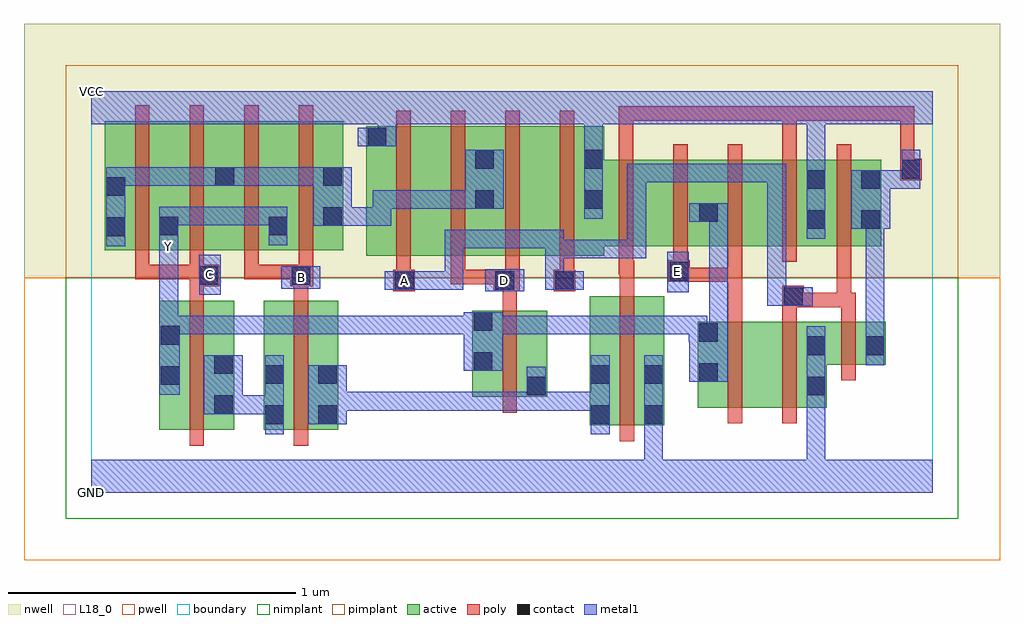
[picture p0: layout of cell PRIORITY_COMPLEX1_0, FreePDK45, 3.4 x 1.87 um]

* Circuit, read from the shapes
.subckt PRIORITY_COMPLEX1_0 A B C D E GND VCC Y
M1 n1 C Y VSUBS nfet w=0.45u l=0.05u
M2 n2 B n1 VSUBS nfet w=0.45u l=0.05u
M3 n2 D Y VSUBS nfet w=0.3u l=0.05u
M4 GND n3 n2 VSUBS nfet w=0.45u l=0.05u
M5 n4 E Y VSUBS nfet w=0.3u l=0.05u
M6 GND A n4 VSUBS nfet w=0.3u l=0.05u
M7 n3 A GND VSUBS nfet w=0.15u l=0.05u
M8 Y C n5 n6 pfet w=0.45u l=0.05u m=2
M9 Y B n5 n6 pfet w=0.45u l=0.05u m=2
M10 n7 A VCC n6 pfet w=0.45u l=0.05u
M11 n5 D n7 n6 pfet w=0.45u l=0.05u
M12 n8 D n5 n6 pfet w=0.45u l=0.05u
M13 VCC A n8 n6 pfet w=0.45u l=0.05u
M14 n9 n3 VCC n6 pfet w=0.3u l=0.05u
M15 Y E n9 n6 pfet w=0.3u l=0.05u
M16 n10 E Y n6 pfet w=0.3u l=0.05u
M17 VCC n3 n10 n6 pfet w=0.3u l=0.05u
M18 n3 A VCC n6 pfet w=0.3u l=0.05u
.ends

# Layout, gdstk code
import gdstk
lib = gdstk.Library(unit=1e-6, precision=1e-09)
def R(c, l, rs):  # rectangles x0, y0, x1, y1
    for r in rs: c.add(gdstk.rectangle(r[:2], r[2:], *l))
def A(c, l, x, y, w, h, nx, ny, dx, dy):  # array of equal rectangles
    R(c, l, [(x+i*dx, y+j*dy, x+i*dx+w, y+j*dy+h) for i in range(nx) for j in range(ny)])
active = (1, 0)
pwell = (2, 0)
nwell = (3, 0)
nimplant = (4, 0)
pimplant = (5, 0)
poly = (9, 0)
contact = (10, 0)
metal1 = (11, 0)
L18_0 = (18, 0)
boundary = (235, 0)

priority_complex1_0 = lib.new_cell('PRIORITY_COMPLEX1_0')
R(priority_complex1_0, active, [(0.237,0.22,0.497,0.67), (0.6,0.22,0.86,0.67), (0.237,0.232,0.312,0.67), (0.422,0.232,0.497,0.542), (0.6,0.232,0.675,0.67), (0.785,0.232,0.86,0.67), (1.735,0.235,1.81,0.685), (1.735,0.235,1.995,0.685), (1.92,0.235,1.995,0.685), (2.112,0.297,2.187,0.597), (2.112,0.297,2.337,0.597), (2.337,0.297,2.562,0.597), (2.487,0.297,2.562,0.597), (1.327,0.335,1.587,0.635), (1.512,0.335,1.587,0.547), (1.327,0.382,1.402,0.635), (2.487,0.447,2.767,0.597), (2.692,0.447,2.767,0.597), (0.957,0.827,1.032,1.277), (0.957,0.827,1.182,1.277), (1.182,0.827,1.407,1.277), (1.332,0.827,1.562,1.277), (1.332,0.827,1.407,1.2), (1.562,0.827,1.787,1.277), (0.047,0.845,0.307,1.295), (0.047,0.845,0.122,1.2), (0.232,0.845,0.307,1.07), (0.232,0.845,0.502,1.295), (0.427,0.845,0.687,1.295), (0.612,0.845,0.877,1.295), (0.612,0.845,0.687,1.07), (0.802,0.845,0.877,1.2), (0.427,0.852,0.502,1.2), (1.712,0.86,1.957,1.16), (1.957,0.86,2.187,1.16), (2.112,0.86,2.337,1.16), (2.112,0.86,2.187,1.07), (2.337,0.86,2.562,1.16), (2.487,0.86,2.562,1.16), (2.487,0.86,2.752,1.16), (2.677,0.86,2.752,1.16), (1.712,0.962,1.787,1.2)])
R(priority_complex1_0, pwell, [(-0.235,-0.235,3.165,0.75)])
R(priority_complex1_0, nwell, [(-0.235,0.75,3.165,1.635)])
R(priority_complex1_0, nimplant, [(-0.09,-0.09,3.02,0.75)])
R(priority_complex1_0, pimplant, [(-0.09,0.75,3.02,1.49)])
A(priority_complex1_0, poly, 1.062, 0.727, 0.05, 0.095, 4, 1, 0.19, 0)
A(priority_complex1_0, poly, 0.152, 0.745, 0.05, 0.095, 4, 1, 0.19, 0)
A(priority_complex1_0, poly, 1.062, 0.772, 0.05, 0.56, 4, 1, 0.19, 0)
A(priority_complex1_0, poly, 0.152, 0.79, 0.05, 0.56, 4, 1, 0.19, 0)
A(priority_complex1_0, poly, 1.837, 0.805, 0.05, 0.41, 5, 1, 0.19, 0)
R(priority_complex1_0, poly, [(0.342,0.165,0.392,0.725), (0.705,0.165,0.755,0.725), (1.84,0.18,1.89,0.74), (2.217,0.242,2.267,0.652), (2.407,0.242,2.457,0.652), (1.432,0.28,1.482,0.69), (2.612,0.392,2.662,0.652), (2.217,0.602,2.267,0.785), (2.407,0.602,2.457,0.697), (2.612,0.602,2.662,0.697), (1.432,0.64,1.482,0.752), (2.407,0.647,2.482,0.722), (2.432,0.647,2.647,0.697), (2.597,0.647,2.647,0.697), (2.597,0.647,2.647,0.697), (2.597,0.647,2.647,0.855), (2.597,0.647,2.662,0.697), (0.342,0.675,0.392,0.77), (0.705,0.675,0.755,0.77), (1.84,0.69,1.89,0.81), (1.052,0.702,1.127,0.777), (1.402,0.702,1.492,0.777), (1.61,0.702,1.685,0.777), (0.342,0.72,0.445,0.795), (0.692,0.72,0.772,0.795), (1.252,0.727,1.302,0.777), (1.252,0.727,1.302,0.777), (1.252,0.727,1.302,0.777), (1.252,0.727,1.452,0.777), (2.01,0.735,2.085,0.81), (2.035,0.735,2.085,0.785), (2.035,0.735,2.085,0.785), (2.035,0.735,2.267,0.785), (2.217,0.735,2.267,0.785), (2.217,0.735,2.267,0.855), (0.152,0.745,0.202,0.795), (0.152,0.745,0.392,0.795), (0.342,0.745,0.392,0.795), (0.342,0.745,0.392,0.795), (0.532,0.745,0.582,0.795), (0.532,0.745,0.582,0.795), (0.532,0.745,0.582,0.795), (0.532,0.745,0.742,0.795), (1.837,0.76,1.887,0.855), (1.837,0.76,1.89,0.81), (2.027,0.76,2.077,0.855), (2.817,1.09,2.892,1.165), (2.817,1.115,2.867,1.347), (1.837,1.165,1.887,1.347), (2.407,1.165,2.457,1.347), (1.837,1.297,1.887,1.347), (1.837,1.297,1.887,1.347), (1.837,1.297,1.887,1.347), (1.837,1.297,2.135,1.347), (2.085,1.297,2.135,1.347), (2.085,1.297,2.135,1.347), (2.085,1.297,2.135,1.347), (2.085,1.297,2.325,1.347), (2.275,1.297,2.325,1.347), (2.275,1.297,2.325,1.347), (2.275,1.297,2.325,1.347), (2.275,1.297,2.457,1.347), (2.407,1.297,2.457,1.347), (2.407,1.297,2.457,1.347), (2.407,1.297,2.457,1.347), (2.407,1.297,2.615,1.347), (2.565,1.297,2.615,1.347), (2.565,1.297,2.867,1.347), (2.817,1.297,2.867,1.347), (2.817,1.297,2.867,1.347), (2.817,1.297,2.867,1.347)])
R(priority_complex1_0, contact, [(0.605,0.24,0.67,0.305), (0.79,0.24,0.855,0.305), (1.74,0.24,1.805,0.305), (1.925,0.24,1.99,0.305), (0.427,0.275,0.492,0.34), (1.517,0.34,1.582,0.405), (2.492,0.34,2.557,0.405), (0.242,0.377,0.307,0.442), (0.605,0.38,0.67,0.445), (0.79,0.38,0.855,0.445), (1.74,0.38,1.805,0.445), (1.925,0.38,1.99,0.445), (2.117,0.387,2.182,0.452), (0.427,0.415,0.492,0.48), (1.332,0.425,1.397,0.49), (2.492,0.48,2.557,0.545), (2.697,0.48,2.762,0.545), (0.242,0.517,0.307,0.582), (2.117,0.527,2.182,0.592), (1.332,0.565,1.397,0.63), (2.412,0.652,2.477,0.717), (1.057,0.707,1.122,0.772), (1.407,0.707,1.472,0.772), (1.615,0.707,1.68,0.772), (0.375,0.725,0.44,0.79), (0.697,0.725,0.762,0.79), (2.015,0.74,2.08,0.805), (0.052,0.895,0.117,0.96), (0.237,0.897,0.302,0.962), (0.617,0.897,0.682,0.962), (2.492,0.92,2.557,0.985), (2.682,0.92,2.747,0.985), (0.807,0.93,0.872,0.995), (2.117,0.945,2.182,1.01), (1.337,0.99,1.402,1.055), (1.717,0.99,1.782,1.055), (0.052,1.035,0.117,1.1), (2.492,1.06,2.557,1.125), (2.682,1.06,2.747,1.125), (0.432,1.07,0.497,1.135), (0.807,1.07,0.872,1.135), (2.822,1.095,2.887,1.16), (1.337,1.13,1.402,1.195), (1.717,1.13,1.782,1.195), (0.962,1.207,1.027,1.272)])
A(priority_complex1_0, metal1, 1.717, 0.287, 0.065, 0.065, 1, 3, 0, 0.265)
R(priority_complex1_0, metal1, [(0,0,2.93,0.115), (1.925,0.05,1.99,0.27), (2.492,0.05,2.557,0.37), (0.605,0.205,0.67,0.48), (1.74,0.205,1.805,0.48), (1.925,0.205,1.99,0.27), (1.925,0.205,1.99,0.27), (1.925,0.205,1.99,0.48), (0.755,0.24,0.89,0.445), (0.392,0.275,0.527,0.48), (0.462,0.275,0.527,0.34), (0.462,0.275,0.527,0.34), (0.462,0.275,0.67,0.34), (0.825,0.287,0.89,0.352), (0.825,0.287,0.89,0.352), (0.825,0.287,1.157,0.352), (1.092,0.287,1.157,0.352), (1.092,0.287,1.157,0.352), (1.092,0.287,1.157,0.352), (1.092,0.287,1.295,0.352), (1.23,0.287,1.295,0.352), (1.23,0.287,1.432,0.352), (1.367,0.287,1.432,0.352), (1.367,0.287,1.432,0.352), (1.367,0.287,1.432,0.352), (1.367,0.287,1.582,0.352), (1.517,0.287,1.782,0.352), (1.517,0.287,1.582,0.44), (1.717,0.287,1.805,0.352), (2.492,0.305,2.557,0.37), (2.492,0.305,2.557,0.37), (2.492,0.305,2.557,0.37), (2.492,0.305,2.557,0.37), (2.492,0.305,2.557,0.58), (0.237,0.342,0.307,0.617), (2.082,0.387,2.217,0.592), (1.297,0.425,1.432,0.63), (2.697,0.445,2.762,0.58), (2.697,0.515,2.762,0.985), (2.08,0.527,2.147,0.592), (2.08,0.527,2.145,0.617), (2.152,0.527,2.217,1.01), (0.237,0.552,0.302,0.857), (0.242,0.552,0.307,0.617), (0.242,0.552,0.307,0.617), (0.242,0.552,0.457,0.617), (0.392,0.552,0.457,0.617), (0.392,0.552,0.457,0.617), (0.392,0.552,0.457,0.617), (0.392,0.552,0.67,0.617), (0.605,0.552,0.67,0.617), (0.605,0.552,0.67,0.617), (0.605,0.552,0.67,0.617), (0.605,0.552,0.907,0.617), (0.842,0.552,0.907,0.617), (0.842,0.552,0.907,0.617), (0.842,0.552,0.907,0.617), (0.842,0.552,1.045,0.617), (0.98,0.552,1.045,0.617), (0.98,0.552,1.045,0.617), (0.98,0.552,1.045,0.617), (0.98,0.552,1.295,0.617), (1.23,0.552,1.295,0.617), (1.23,0.552,1.362,0.617), (1.367,0.552,1.432,0.617), (1.367,0.552,1.432,0.617), (1.367,0.552,1.645,0.617), (1.58,0.552,1.645,0.617), (1.58,0.552,1.645,0.617), (1.58,0.552,1.645,0.617), (1.58,0.552,1.782,0.617), (1.717,0.552,1.92,0.617), (1.855,0.552,1.92,0.617), (1.855,0.552,1.92,0.617), (1.855,0.552,1.92,0.617), (1.855,0.552,2.145,0.617), (2.355,0.652,2.42,0.717), (2.355,0.652,2.42,0.717), (2.355,0.652,2.42,0.717), (2.355,0.652,2.442,0.717), (2.355,0.652,2.42,1.147), (2.377,0.652,2.512,0.717), (0.375,0.69,0.45,0.83), (2.005,0.7,2.08,0.84), (1.372,0.702,1.507,0.78), (1.022,0.707,1.157,0.772), (1.092,0.707,1.157,0.772), (1.092,0.707,1.157,0.772), (1.092,0.707,1.295,0.772), (1.23,0.707,1.295,0.772), (1.23,0.707,1.295,0.772), (1.23,0.707,1.295,0.772), (1.23,0.707,1.295,0.917), (1.58,0.707,1.645,0.772), (1.58,0.707,1.645,0.772), (1.58,0.707,1.715,0.772), (1.58,0.707,1.645,0.882), (0.662,0.712,0.797,0.79), (0.237,0.792,0.302,0.927), (1.58,0.817,1.645,0.882), (1.58,0.817,1.645,0.882), (1.58,0.817,1.782,0.882), (1.58,0.817,1.645,0.917), (1.717,0.817,1.932,0.882), (1.867,0.817,1.932,0.882), (1.867,0.817,1.932,0.882), (1.867,0.817,1.932,0.882), (1.867,0.817,1.932,1.147), (1.23,0.852,1.295,0.917), (1.23,0.852,1.432,0.917), (1.367,0.852,1.432,0.917), (1.367,0.852,1.645,0.917), (0.052,0.86,0.117,1.135), (0.237,0.862,0.302,0.997), (0.237,0.862,0.302,0.927), (0.617,0.862,0.682,0.997), (2.492,0.885,2.557,1.16), (2.647,0.92,2.782,1.125), (2.697,0.92,2.762,0.985), (2.697,0.92,2.762,0.985), (2.697,0.92,2.762,0.985), (2.697,0.92,2.762,0.985), (2.697,0.92,2.762,0.985), (2.697,0.92,2.762,0.985), (0.772,0.93,0.907,1.135), (0.842,0.93,0.907,0.995), (0.842,0.93,0.907,0.995), (0.842,0.93,0.907,0.995), (0.842,0.93,0.907,0.995), (0.842,0.93,1.045,0.995), (0.98,0.93,1.045,0.995), (0.98,0.93,1.045,0.995), (0.98,0.93,1.045,0.995), (0.98,0.93,1.045,1.055), (0.237,0.932,0.302,0.997), (0.237,0.932,0.302,0.997), (0.237,0.932,0.457,0.997), (0.392,0.932,0.457,0.997), (0.392,0.932,0.457,0.997), (0.392,0.932,0.457,0.997), (0.392,0.932,0.682,0.997), (2.082,0.945,2.217,1.01), (2.152,0.945,2.217,1.01), (2.152,0.945,2.217,1.01), (1.717,0.955,1.782,1.23), (0.98,0.99,1.045,1.055), (0.98,0.99,1.295,1.055), (1.23,0.99,1.295,1.055), (1.23,0.99,1.367,1.055), (1.302,0.99,1.437,1.195), (2.717,1.06,2.887,1.125), (2.822,1.06,2.887,1.195), (0.052,1.07,0.117,1.135), (0.052,1.07,0.117,1.135), (0.052,1.07,0.32,1.135), (0.255,1.07,0.32,1.135), (0.255,1.07,0.32,1.135), (0.255,1.07,0.32,1.135), (0.255,1.07,0.462,1.135), (0.397,1.07,0.532,1.135), (0.467,1.07,0.532,1.135), (0.467,1.07,0.532,1.135), (0.467,1.07,0.682,1.135), (0.617,1.07,0.682,1.135), (0.617,1.07,0.682,1.135), (0.617,1.07,0.682,1.135), (0.617,1.07,0.837,1.135), (1.867,1.082,1.932,1.147), (1.867,1.082,2.145,1.147), (2.08,1.082,2.145,1.147), (2.08,1.082,2.282,1.147), (2.217,1.082,2.282,1.147), (2.217,1.082,2.282,1.147), (2.217,1.082,2.282,1.147), (2.217,1.082,2.42,1.147), (2.355,1.082,2.42,1.147), (2.492,1.095,2.557,1.16), (2.492,1.095,2.557,1.16), (2.492,1.095,2.557,1.35), (1.717,1.165,1.782,1.35), (0.927,1.207,1.062,1.272), (0.997,1.207,1.062,1.35), (0,1.285,2.93,1.4)])
R(priority_complex1_0, L18_0, [(0,0,2.93,0.115), (1.925,0.05,1.99,0.27), (2.492,0.05,2.557,0.37), (1.925,0.205,1.99,0.27), (1.925,0.205,1.99,0.27), (1.925,0.205,1.99,0.48), (2.492,0.305,2.557,0.37), (2.492,0.305,2.557,0.37), (2.492,0.305,2.557,0.37), (2.492,0.305,2.557,0.37), (2.492,0.305,2.557,0.58), (0.237,0.342,0.307,0.617), (2.082,0.387,2.217,0.592), (1.297,0.425,1.432,0.63), (2.08,0.527,2.145,0.617), (2.08,0.527,2.147,0.592), (2.152,0.527,2.217,1.01), (0.237,0.552,0.302,0.857), (0.242,0.552,0.307,0.617), (0.242,0.552,0.307,0.617), (0.242,0.552,0.457,0.617), (0.392,0.552,0.457,0.617), (0.392,0.552,0.457,0.617), (0.392,0.552,0.457,0.617), (0.392,0.552,0.67,0.617), (0.605,0.552,0.67,0.617), (0.605,0.552,0.67,0.617), (0.605,0.552,0.67,0.617), (0.605,0.552,0.907,0.617), (0.842,0.552,0.907,0.617), (0.842,0.552,0.907,0.617), (0.842,0.552,0.907,0.617), (0.842,0.552,1.045,0.617), (0.98,0.552,1.045,0.617), (0.98,0.552,1.045,0.617), (0.98,0.552,1.045,0.617), (0.98,0.552,1.295,0.617), (1.23,0.552,1.295,0.617), (1.23,0.552,1.362,0.617), (1.367,0.552,1.432,0.617), (1.367,0.552,1.432,0.617), (1.367,0.552,1.645,0.617), (1.58,0.552,1.645,0.617), (1.58,0.552,1.645,0.617), (1.58,0.552,1.645,0.617), (1.58,0.552,1.782,0.617), (1.717,0.552,1.782,0.617), (1.717,0.552,1.92,0.617), (1.855,0.552,1.92,0.617), (1.855,0.552,1.92,0.617), (1.855,0.552,1.92,0.617), (1.855,0.552,2.145,0.617), (2.355,0.652,2.42,0.717), (2.355,0.652,2.42,0.717), (2.355,0.652,2.42,0.717), (2.355,0.652,2.42,1.147), (2.355,0.652,2.442,0.717), (2.377,0.652,2.512,0.717), (0.375,0.69,0.45,0.83), (2.005,0.7,2.08,0.84), (1.372,0.702,1.507,0.78), (1.022,0.707,1.157,0.772), (1.057,0.707,1.122,0.772), (1.092,0.707,1.157,0.772), (1.092,0.707,1.157,0.772), (1.092,0.707,1.295,0.772), (1.23,0.707,1.295,0.772), (1.23,0.707,1.295,0.772), (1.23,0.707,1.295,0.772), (1.23,0.707,1.295,0.917), (1.407,0.707,1.472,0.772), (1.58,0.707,1.645,0.772), (1.58,0.707,1.645,0.772), (1.58,0.707,1.715,0.772), (1.58,0.707,1.645,0.882), (0.662,0.712,0.797,0.79), (0.697,0.717,0.762,0.782), (0.377,0.727,0.442,0.792), (2.007,0.737,2.072,0.802), (0.237,0.792,0.302,0.927), (1.58,0.817,1.645,0.882), (1.58,0.817,1.645,0.882), (1.58,0.817,1.782,0.882), (1.58,0.817,1.645,0.917), (1.717,0.817,1.782,0.882), (1.717,0.817,1.932,0.882), (1.867,0.817,1.932,0.882), (1.867,0.817,1.932,0.882), (1.867,0.817,1.932,0.882), (1.867,0.817,1.932,1.147), (0.237,0.827,0.302,0.892), (1.23,0.852,1.295,0.917), (1.23,0.852,1.432,0.917), (1.367,0.852,1.432,0.917), (1.367,0.852,1.645,0.917), (0.237,0.862,0.302,0.997), (0.237,0.862,0.302,0.927), (0.617,0.862,0.682,0.997), (2.492,0.885,2.557,1.16), (0.237,0.932,0.302,0.997), (0.237,0.932,0.302,0.997), (0.237,0.932,0.457,0.997), (0.392,0.932,0.457,0.997), (0.392,0.932,0.457,0.997), (0.392,0.932,0.457,0.997), (0.392,0.932,0.682,0.997), (2.082,0.945,2.217,1.01), (2.152,0.945,2.217,1.01), (2.152,0.945,2.217,1.01), (1.717,0.955,1.782,1.23), (1.867,1.082,1.932,1.147), (1.867,1.082,2.145,1.147), (2.08,1.082,2.145,1.147), (2.08,1.082,2.282,1.147), (2.217,1.082,2.282,1.147), (2.217,1.082,2.282,1.147), (2.217,1.082,2.282,1.147), (2.217,1.082,2.42,1.147), (2.355,1.082,2.42,1.147), (2.492,1.095,2.557,1.16), (2.492,1.095,2.557,1.16), (2.492,1.095,2.557,1.35), (1.717,1.165,1.782,1.35), (0.927,1.207,1.062,1.272), (0.997,1.207,1.062,1.35), (0,1.285,2.93,1.4)])
R(priority_complex1_0, boundary, [(0,0,2.93,1.4)])
priority_complex1_0.add(gdstk.Label('A', (1.09,0.74), layer=11, texttype=0))
priority_complex1_0.add(gdstk.Label('B', (0.73,0.75), layer=11, texttype=0))
priority_complex1_0.add(gdstk.Label('C', (0.41,0.76), layer=11, texttype=0))
priority_complex1_0.add(gdstk.Label('D', (1.44,0.74), layer=11, texttype=0))
priority_complex1_0.add(gdstk.Label('E', (2.04,0.77), layer=11, texttype=0))
priority_complex1_0.add(gdstk.Label('Y', (0.27,0.86), layer=11, texttype=0))
priority_complex1_0.add(gdstk.Label('VCC', (0,1.4), layer=11, texttype=0))
priority_complex1_0.add(gdstk.Label('GND', (0,0), layer=11, texttype=0))

lib.write_gds('PRIORITY_COMPLEX1_0.gds')
